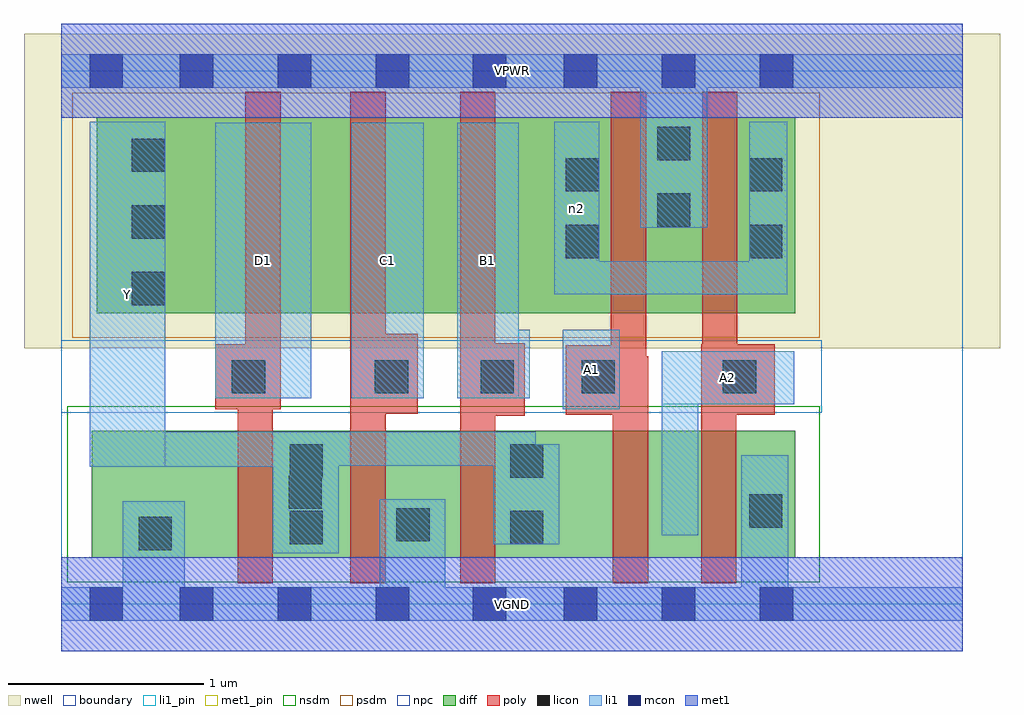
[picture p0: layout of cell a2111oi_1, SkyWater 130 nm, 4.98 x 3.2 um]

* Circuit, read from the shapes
.subckt a2111oi_1 A1 A2 B1 C1 D1 VGND VPWR Y n2
XM1 Y D1 VGND VSUBS sky130_fd_pr__nfet_01v8 w=0.65 l=0.18
XM2 VGND C1 Y VSUBS sky130_fd_pr__nfet_01v8 w=0.65 l=0.18
XM3 Y B1 VGND VSUBS sky130_fd_pr__nfet_01v8 w=0.65 l=0.18
XM4 n1 A1 Y VSUBS sky130_fd_pr__nfet_01v8 w=0.65 l=0.18
XM5 VGND A2 n1 VSUBS sky130_fd_pr__nfet_01v8 w=0.65 l=0.18
XM6 n3 D1 Y n4 sky130_fd_pr__pfet_01v8 w=1 l=0.18
XM7 n5 C1 n3 n4 sky130_fd_pr__pfet_01v8 w=1 l=0.18
XM8 n2 B1 n5 n4 sky130_fd_pr__pfet_01v8 w=1 l=0.18
XM9 VPWR A1 n2 n4 sky130_fd_pr__pfet_01v8 w=1 l=0.18
XM10 n2 A2 VPWR n4 sky130_fd_pr__pfet_01v8 w=1 l=0.18
.ends

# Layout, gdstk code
import gdstk
lib = gdstk.Library(unit=1e-6, precision=1e-09)
def R(c, l, rs):  # rectangles x0, y0, x1, y1
    for r in rs: c.add(gdstk.rectangle(r[:2], r[2:], *l))
def A(c, l, x, y, w, h, nx, ny, dx, dy):  # array of equal rectangles
    R(c, l, [(x+i*dx, y+j*dy, x+i*dx+w, y+j*dy+h) for i in range(nx) for j in range(ny)])
nwell = (64, 20)
diff = (65, 20)
poly = (66, 20)
licon = (66, 44)
li1_pin = (67, 16)
li1 = (67, 20)
mcon = (67, 44)
met1_pin = (68, 16)
met1 = (68, 20)
nsdm = (93, 44)
psdm = (94, 20)
npc = (95, 20)
boundary = (235, 4)

a2111oi_1 = lib.new_cell('a2111oi_1')
R(a2111oi_1, nwell, [(-0.19,1.305,4.79,2.91), (0,1.305,4.6,2.91)])
R(a2111oi_1, diff, [(0.155,0.235,3.745,0.885), (0.18,1.485,3.745,2.485)])
R(a2111oi_1, poly, [(0.9,0.105,1.08,1.325), (1.475,0.105,1.655,2.615), (2.035,0.105,2.215,2.615), (2.815,0.105,2.995,1.265), (3.265,0.105,3.445,1.325), (2.035,0.96,2.365,1.33), (2.575,0.965,2.985,1.32), (2.805,0.965,2.985,2.615), (3.265,0.965,3.64,1.325), (3.27,0.965,3.45,2.615), (1.475,0.97,1.82,1.38), (0.785,0.995,1.12,1.325), (0.94,0.995,1.12,2.615)])
A(a2111oi_1, licon, 0.36, 1.525, 0.17, 0.17, 1, 3, 0, 0.34)
R(a2111oi_1, licon, [(0.395,0.275,0.565,0.445), (1.165,0.305,1.335,0.475), (2.29,0.305,2.46,0.475), (1.71,0.32,1.88,0.49), (3.51,0.39,3.68,0.56), (1.16,0.485,1.33,0.655), (1.165,0.645,1.335,0.815), (2.29,0.645,2.46,0.815), (0.87,1.075,1.04,1.245), (1.6,1.075,1.77,1.245), (2.14,1.075,2.31,1.245), (2.655,1.075,2.825,1.245), (3.375,1.075,3.545,1.245), (2.575,1.765,2.745,1.935), (3.51,1.765,3.68,1.935), (3.04,1.925,3.21,2.095), (2.575,2.105,2.745,2.275), (3.51,2.105,3.68,2.275), (3.04,2.265,3.21,2.435)])
R(a2111oi_1, li1_pin, [(0.145,0.7,0.53,2.46), (2.56,0.995,2.85,1.4), (3.065,1.02,3.74,1.29), (0.785,1.05,1.275,2.455), (1.48,1.05,1.85,2.455), (2.02,1.05,2.335,2.455)])
R(a2111oi_1, li1, [(0,-0.085,4.6,0.085), (0.315,-0.085,0.63,0.525), (1.625,-0.085,1.96,0.535), (3.47,-0.085,3.71,0.76), (1.08,0.26,1.415,0.88), (2.205,0.305,2.54,0.705), (2.205,0.305,2.42,0.88), (3.065,0.35,3.25,1.29), (0.145,0.7,0.53,2.46), (0.145,0.7,1.415,0.88), (0.145,0.705,2.205,0.88), (0.145,0.705,2.54,0.815), (2.56,0.995,2.85,1.4), (3.065,1.02,3.74,1.29), (0.785,1.05,1.275,2.455), (1.48,1.05,1.85,2.455), (2.02,1.05,2.335,2.455), (2.02,1.05,2.39,1.4), (2.515,1.58,2.745,2.46), (2.515,1.58,3.705,1.75), (3.51,1.58,3.705,2.46), (2.955,1.92,3.295,2.805), (0,2.635,4.6,2.805)])
A(a2111oi_1, mcon, 0.605, -0.085, 0.17, 0.17, 3, 2, 0.5, 2.72)
A(a2111oi_1, mcon, 2.565, -0.085, 0.17, 0.17, 3, 2, 0.5, 2.72)
R(a2111oi_1, mcon, [(0.145,-0.085,0.315,0.085), (2.1,-0.085,2.27,0.085), (0.145,2.635,0.315,2.805), (2.1,2.635,2.27,2.805)])
R(a2111oi_1, met1_pin, [(0,-0.24,4.6,0.24), (0,2.48,4.6,2.96)])
R(a2111oi_1, met1, [(0,-0.24,4.6,0.24), (0,2.48,4.6,2.96)])
R(a2111oi_1, nsdm, [(0.03,0.11,3.87,1.01)])
R(a2111oi_1, psdm, [(0.055,1.36,3.87,2.61)])
R(a2111oi_1, npc, [(0,0.975,3.88,1.345)])
R(a2111oi_1, boundary, [(0,0,4.6,2.72)])
a2111oi_1.add(gdstk.Label('A1', (2.705,1.197), layer=67, texttype=5))
a2111oi_1.add(gdstk.Label('A2', (3.402,1.155), layer=67, texttype=5))
a2111oi_1.add(gdstk.Label('B1', (2.177,1.752), layer=67, texttype=5))
a2111oi_1.add(gdstk.Label('C1', (1.665,1.752), layer=67, texttype=5))
a2111oi_1.add(gdstk.Label('D1', (1.03,1.752), layer=67, texttype=5))
a2111oi_1.add(gdstk.Label('Y', (0.337,1.58), layer=67, texttype=5))
a2111oi_1.add(gdstk.Label('n2', (2.63,2.02), layer=67, texttype=5))
a2111oi_1.add(gdstk.Label('VPWR', (2.3,2.72), layer=68, texttype=5))
a2111oi_1.add(gdstk.Label('VGND', (2.3,0), layer=68, texttype=5))
a2111oi_1.add(gdstk.Label('A1', (2.705,1.197), layer=67, texttype=16))
a2111oi_1.add(gdstk.Label('A2', (3.402,1.155), layer=67, texttype=16))
a2111oi_1.add(gdstk.Label('B1', (2.177,1.752), layer=67, texttype=16))
a2111oi_1.add(gdstk.Label('C1', (1.665,1.752), layer=67, texttype=16))
a2111oi_1.add(gdstk.Label('D1', (1.03,1.752), layer=67, texttype=16))
a2111oi_1.add(gdstk.Label('Y', (0.337,1.58), layer=67, texttype=16))
a2111oi_1.add(gdstk.Label('VPWR', (2.3,2.72), layer=68, texttype=16))
a2111oi_1.add(gdstk.Label('VGND', (2.3,0), layer=68, texttype=16))

lib.write_gds('a2111oi_1.gds')
